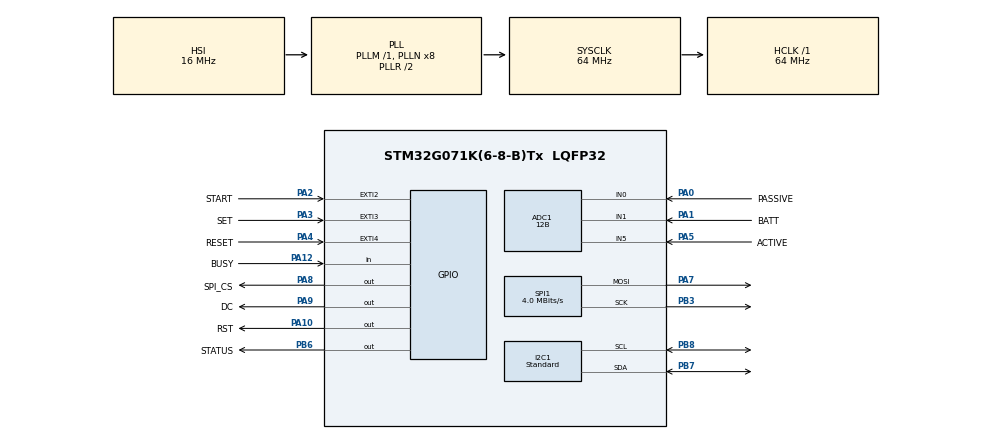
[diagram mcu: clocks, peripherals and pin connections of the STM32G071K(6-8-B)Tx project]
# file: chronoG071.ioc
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ADC1.Channel-0\#ChannelRegularConversion=ADC_CHANNEL_1
ADC1.Channel-3\#ChannelRegularConversion=ADC_CHANNEL_0
ADC1.Channel-4\#ChannelRegularConversion=ADC_CHANNEL_5
ADC1.Channel-IN0=ADC_CHANNEL_0
ADC1.Channel-IN1=ADC_CHANNEL_1
ADC1.Channel-IN5=ADC_CHANNEL_5
ADC1.ClockPrescaler=ADC_CLOCK_SYNC_PCLK_DIV2
ADC1.ContinuousConvMode=DISABLE
ADC1.DMAContinuousRequests=DISABLE
ADC1.DataAlign=ADC_DATAALIGN_RIGHT
ADC1.DiscontinuousConvMode=ENABLE
ADC1.EOCSelection=ADC_EOC_SEQ_CONV
ADC1.EnableAnalogWatchDog1=false
ADC1.EnableAnalogWatchDog2=false
ADC1.EnableAnalogWatchDog3=false
ADC1.ExternalTrigConv=ADC_SOFTWARE_START
ADC1.ExternalTrigConvEdge=ADC_EXTERNALTRIGCONVEDGE_NONE
ADC1.LowPowerAutoPowerOff=DISABLE
ADC1.LowPowerAutoWait=DISABLE
ADC1.NbrOfConversion=3
ADC1.Overrun=ADC_OVR_DATA_OVERWRITTEN
ADC1.OversamplingMode=DISABLE
ADC1.Rank-0\#ChannelRegularConversion=1
ADC1.Rank-3\#ChannelRegularConversion=2
ADC1.Rank-4\#ChannelRegularConversion=3
ADC1.Resolution=ADC_RESOLUTION_12B
ADC1.SamplingTime-0\#ChannelRegularConversion=ADC_SAMPLINGTIME_COMMON_1
ADC1.SamplingTime-3\#ChannelRegularConversion=ADC_SAMPLINGTIME_COMMON_1
ADC1.SamplingTime-4\#ChannelRegularConversion=ADC_SAMPLINGTIME_COMMON_1
ADC1.SamplingTimeCommon1=ADC_SAMPLETIME_19CYCLES_5
ADC1.SamplingTimeCommon2=ADC_SAMPLETIME_19CYCLES_5
ADC1.ScanConvMode=ADC_SCAN_ENABLE
ADC1.SelectedChannel=ADC_CHANNEL_0|ADC_CHANNEL_1|ADC_CHANNEL_5
ADC1.Sequencer=FULLY_CONFIGURABLE
ADC1.TriggerFrequencyMode=ADC_TRIGGER_FREQ_HIGH
ADC1.master=1
CRC.DefaultInitValueUse=DEFAULT_INIT_VALUE_ENABLE
CRC.DefaultPolynomialUse=DEFAULT_POLYNOMIAL_ENABLE
CRC.InputDataFormat=CRC_INPUTDATA_FORMAT_BYTES
CRC.InputDataInversionMode=CRC_INPUTDATA_INVERSION_NONE
CRC.OutputDataInversionMode=CRC_OUTPUTDATA_INVERSION_DISABLE
Dma.ADC1.0.Direction=DMA_PERIPH_TO_MEMORY
Dma.ADC1.0.EventEnable=DISABLE
Dma.ADC1.0.Instance=DMA1_Channel1
Dma.ADC1.0.MemDataAlignment=DMA_MDATAALIGN_HALFWORD
Dma.ADC1.0.MemInc=DMA_MINC_ENABLE
Dma.ADC1.0.Mode=DMA_CIRCULAR
Dma.ADC1.0.PeriphDataAlignment=DMA_PDATAALIGN_HALFWORD
Dma.ADC1.0.PeriphInc=DMA_PINC_DISABLE
Dma.ADC1.0.Polarity=HAL_DMAMUX_REQ_GEN_RISING
Dma.ADC1.0.Priority=DMA_PRIORITY_LOW
Dma.ADC1.0.RequestNumber=1
Dma.ADC1.0.SignalID=NONE
Dma.ADC1.0.SyncEnable=DISABLE
Dma.ADC1.0.SyncPolarity=HAL_DMAMUX_SYNC_NO_EVENT
Dma.ADC1.0.SyncRequestNumber=1
Dma.ADC1.0.SyncSignalID=NONE
Dma.Request0=ADC1
I2C1.AddressingMode=I2C_ADDRESSINGMODE_7BIT
I2C1.Analog_Filter=I2C_ANALOGFILTER_ENABLE
I2C1.CustomTiming=Disabled
I2C1.DualAddressMode=I2C_DUALADDRESS_DISABLE
I2C1.GeneralCallMode=I2C_GENERALCALL_DISABLE
I2C1.I2C_Coeff_DF=0
I2C1.I2C_Fall_Time=0
I2C1.I2C_Rise_Time=0
I2C1.I2C_Speed_Mode=I2C_Standard
I2C1.NoStretchMode=I2C_NOSTRETCH_DISABLE
I2C1.OwnAddress=0
I2C1.Speed=100
I2C1.Timing=0x10707DBC
Mcu.Family=STM32G0
Mcu.Name=STM32G071K(6-8-B)Tx
Mcu.Package=LQFP32
NVIC.DMA1_Channel1_IRQn=true\:0\:0\:false\:false\:true\:false\:true\:true
NVIC.EXTI2_3_IRQn=true\:2\:0\:true\:false\:true\:true\:true\:true
NVIC.EXTI4_15_IRQn=true\:2\:0\:true\:false\:true\:true\:true\:true
NVIC.RTC_TAMP_IRQn=true\:1\:0\:true\:false\:true\:true\:true\:true
NVIC.TIM3_IRQn=true\:0\:0\:false\:false\:true\:true\:true\:true
PA0.GPIO_Label=PASSIVE
PA0.Mode=IN0
PA0.Signal=ADC1_IN0
PA1.GPIO_Label=BATT
PA1.Mode=IN1
PA1.Signal=ADC1_IN1
PA10.GPIO_Label=RST
PA10.Signal=GPIO_Output
PA12\ [PA10].GPIO_Label=BUSY
PA12\ [PA10].Signal=GPIO_Input
PA13.Mode=Serial_Wire
PA13.Signal=SYS_SWDIO
PA14-BOOT0.Mode=Serial_Wire
PA14-BOOT0.Signal=SYS_SWCLK
PA2.GPIO_Label=START
PA2.GPIO_ModeDefaultEXTI=GPIO_MODE_IT_FALLING
PA2.GPIO_PuPd=GPIO_PULLUP
PA2.Signal=GPXTI2
PA3.GPIO_Label=SET
PA3.GPIO_ModeDefaultEXTI=GPIO_MODE_IT_FALLING
PA3.GPIO_PuPd=GPIO_PULLUP
PA3.Signal=GPXTI3
PA4.GPIO_Label=RESET
PA4.GPIO_ModeDefaultEXTI=GPIO_MODE_IT_FALLING
PA4.GPIO_PuPd=GPIO_PULLUP
PA4.Signal=GPXTI4
PA5.GPIO_Label=ACTIVE
PA5.Mode=IN5
PA5.Signal=ADC1_IN5
PA7.GPIO_Speed=GPIO_SPEED_FREQ_HIGH
PA7.Mode=TX_Only_Simplex_Unidirect_Master
PA7.PinState=GPIO_PIN_RESET
PA7.Signal=SPI1_MOSI
PA8.GPIO_Label=SPI_CS
PA8.Signal=GPIO_Output
PA9.GPIO_Label=DC
PA9.Signal=GPIO_Output
PB3.GPIO_Speed=GPIO_SPEED_FREQ_HIGH
PB3.Mode=TX_Only_Simplex_Unidirect_Master
PB3.Signal=SPI1_SCK
PB6.GPIO_Label=STATUS
PB6.Signal=GPIO_Output
PB7.GPIO_Pu=GPIO_PULLUP
PB7.Mode=I2C
PB7.Signal=I2C1_SDA
PB8.GPIO_Pu=GPIO_PULLUP
PB8.Mode=I2C
PB8.Signal=I2C1_SCL
PC14-OSC32_IN\ (PC14).Mode=LSE-External-Oscillator
PC14-OSC32_IN\ (PC14).Signal=RCC_OSC32_IN
PC15-OSC32_OUT\ (PC15).Mode=LSE-External-Oscillator
PC15-OSC32_OUT\ (PC15).Signal=RCC_OSC32_OUT
ProjectManager.HeapSize=0x200
ProjectManager.StackSize=0x400
ProjectManager.TargetToolchain=STM32CubeIDE
RCC.ADCFreq_Value=64000000
RCC.AHBFreq_Value=64000000
RCC.CortexFreq_Value=64000000
RCC.EXTERNAL_CLOCK_VALUE=48000
RCC.FLatency=FLASH_LATENCY_2
RCC.HCLKFreq_Value=64000000
RCC.HSE_VALUE=8000000
RCC.HSI_VALUE=16000000
RCC.RTCClockSelection=RCC_RTCCLKSOURCE_LSE
RCC.SYSCLKFreq_VALUE=64000000
RCC.SYSCLKSource=RCC_SYSCLKSOURCE_PLLCLK
RCC.VCOOutputFreq_Value=128000000
RTC.AsynchPrediv=127
RTC.Date=20
RTC.DayLightSaving=RTC_DAYLIGHTSAVING_NONE
RTC.Format=RTC_FORMAT_BIN
RTC.HourFormat=RTC_HOURFORMAT_24
RTC.Hours=10
RTC.Minutes=10
RTC.Month=RTC_MONTH_APRIL
RTC.Seconds=0
RTC.StoreOperation=RTC_STOREOPERATION_RESET
RTC.SubSeconds=0
RTC.SynchPrediv=255
RTC.WakeUpClock-WakeUp=RTC_WAKEUPCLOCK_CK_SPRE_16BITS
RTC.WakeUpCounter-WakeUp=60
RTC.WeekDay=RTC_WEEKDAY_TUESDAY
RTC.Year=20
SPI1.BaudRatePrescaler=SPI_BAUDRATEPRESCALER_16
SPI1.CLKPhase=SPI_PHASE_1EDGE
SPI1.CLKPolarity=SPI_POLARITY_LOW
SPI1.CRCCalculation=SPI_CRCCALCULATION_DISABLE
SPI1.CalculateBaudRate=4.0 MBits/s
SPI1.DataSize=SPI_DATASIZE_8BIT
SPI1.Direction=SPI_DIRECTION_2LINES
SPI1.FirstBit=SPI_FIRSTBIT_MSB
SPI1.Mode=SPI_MODE_MASTER
SPI1.NSS=SPI_NSS_SOFT
SPI1.NSSPMode=SPI_NSS_PULSE_ENABLE
SPI1.TIMode=SPI_TIMODE_DISABLE
SPI1.VirtualType=VM_MASTER
TIM3.AutoReloadPreload=TIM_AUTORELOAD_PRELOAD_DISABLE
TIM3.ClockDivision=TIM_CLOCKDIVISION_DIV1
TIM3.CounterMode=TIM_COUNTERMODE_UP
TIM3.Period=19999
TIM3.Prescaler=3199
TIM3.TIM_MasterOutputTrigger=TIM_TRGO_RESET
TIM3.TIM_MasterSlaveMode=TIM_MASTERSLAVEMODE_DISABLE
VP_CRC_VS_CRC.Mode=CRC_Activate
VP_RTC_VS_RTC_Activate.Mode=RTC_Enabled
VP_RTC_VS_RTC_Calendar.Mode=RTC_Calendar
VP_RTC_VS_RTC_WakeUp_intern.Mode=WakeUp
VP_SYS_VS_DBSignals.Mode=DisableDeadBatterySignals
VP_TIM3_VS_ClockSourceINT.Mode=Internal
board=custom

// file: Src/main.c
/* USER CODE BEGIN Header */
/**
  ******************************************************************************
  * @file           : main.c
  * @brief          : Main program body
  ******************************************************************************
  * @attention
  *
  * Copyright (c) 2022 STMicroelectronics.
  * All rights reserved.
  *
  * This software is licensed under terms that can be found in the LICENSE file
  * in the root directory of this software component.
  * If no LICENSE file comes with this software, it is provided AS-IS.
  *
  ******************************************************************************
  */

/*
 *
 *  Chrono v2.0
 changelog:
 0.2 probably working sensors
 0.3 working settings
 0.4 battery state pointer
 0.5 working chronograph(only minutes and seconds- without decimals)
 0.6 working low stop mode
 0.7 working new V2 display
 0.8 working sensors!
 0.9 now you cant change layouts and color schemes
 1.0 now sleeps also in chrono mode
 1.0.1 added dontSleepFlag
 1.1 new interface
 1.1.1 better pressure reading- compare
 1.2 properly working chronograph
 1.3 working humidity sensor
 1.3.1 reverted normal pressure reading
 1.3.2 sensor read optimization
 1.3.4 correct order of set time HAL functions
 1.3.5 better power consumption
 1.3.6 correct battery reading
 1.3.7 fixed stuck at button press
 1.3.8 better pressure pointer
 1.4 new settings. corrected GUI Paint
 1.5 working chrono, finally. added halfHour counter.
 1.5.1 chrono halfHours fix.
 1.5.2 longer wake up times, faster SPI
 1.5.3 new layout
 1.5.4 long wake up as init, systick suspend
 1.5.4 more volatile variables
 1.5.5 corrected button interrupt - else if :/
 1.5.6 mode as volatile...\
 1.6 more clean code
 1.7 changed gTime to sTime
 1.7.1 better battery management
 1.8 added altimeter and temp compensation
 1.9 better button management
 2.0 added compass
 2.0.1 - better magnetometer reading
 2.0.2 - better chrono(added date counting)
 2.0.3 - magnetometer correction for new pcb
 2.0.4 properly display minus temperatures
 2.0.5 fixed bad button reading
 2.0.6 mode backup
 2.0.7 better lifetime
 2.1 new sensor, new layouts
 2.2 working meter
 2.21 constant voltage correction switched to gain
 2.3 added dont sleep 10sedonds after release reset.
 2.4 added button lock
 2.5 calling clock config after cutton press
 2.6 better buttons work, customized for touch buttons, autolock if underwater
 2.7 fixes, auto close settings, Status LED- ready for touch sensors
 2.7.1 refresh at automatic settings close
 2.7.2 turn off chrono if it starts under water
 2.7.3 properly set layout and color scheme after setting auto-close
 2.7.4 increased magnetometer divider
 2.8 added moon phase
 2.8.1 corrected moon phase
 3.0 - autocalibrating compass, new analog interface for compass
 3.1 - better lock indicator
 3.11 - better lifetime
 3.2- dont refresh screen if battery is low
 3.3 -added flash backup
 3.4 - properly working chronograph
 3.4.1 -corrected flagBatteryLow flag name

 todo:
 -already did

 -fast seconds refresh holding reset button

 -chronograph not enough precised
 -low power modes-working modes(second synchro/minute synchro)
 EPD sleep
 -sleep and 1Hz refresh if chrono working
 -sleep and 0,2Hz refresh if chrono stop(wakeUp Counter)
 -working sensors
 -chronograph for decimals
 -make choro decimals to display 0 if chrono working
 -program battery alert and safety sleep.
 -fix cut date frame by date number
 loosen interfaceDrawIndex

 exit settings if underwater
 auto exit settings
 enter settings only in long press

 current consumption:
 idle: 8.64mA
 stop mode: 0,1mA

 PCB changelog
 0.5.2 - ring and base fitted to new V2 display
 0.5.3 - wider holes spacing
 0.5.6 - taller FFC connector-in case for too short display stripe
 1.0 - added meter connector, new charger, new magnetometer

 instructions:

 press start to start chrono
 press start to stop the chrono
 press start during chrono working, to resume counting
 press reset to reset chrono
 hold reset for fast refresh
 hold reset and press set to full refresh
 press set to go to settings

 in settings:

 press set to exit settings
 press reset to go next value
 press start to increment current value
 holding start, press and hold set. holding set button, press start to decrement value
 *
 */
/* USER CODE END Header */
#include "main.h"

/* USER CODE BEGIN Includes */
#include "Display_EPD/EPD_1in54_V2.h"
#include "Display_Config/DEV_Config.h"
#include "Display_GUI/GUI_Paint.h"

#include "interface.h"
#include "rtc.h"
#include "settings.h"
#include "buttons.h"
#include "sensing.h"
#include "timers.h"

#include <stdlib.h>

#include "EEPROM_Emul/eeprom_emul.h"
/* USER CODE END Includes */

 ADC_HandleTypeDef hadc1;
DMA_HandleTypeDef hdma_adc1;

I2C_HandleTypeDef hi2c1;

RTC_HandleTypeDef hrtc;

SPI_HandleTypeDef hspi1;

TIM_HandleTypeDef htim3;

void SystemClock_Config(void);
static void MX_GPIO_Init(void);
static void MX_DMA_Init(void);
static void MX_I2C1_Init(void);
static void MX_ADC1_Init(void);
static void MX_RTC_Init(void);
static void MX_SPI1_Init(void);
static void MX_TIM3_Init(void);
static void MX_CRC_Init(void);
/* USER CODE BEGIN PFP */
void onSleep(void);
void onWakeUp(void);
/* USER CODE END PFP */

int main(void)
{

  /* MCU Configuration--------------------------------------------------------*/

  /* Reset of all peripherals, Initializes the Flash interface and the Systick. */
  HAL_Init();

  /* Configure the system clock */
  SystemClock_Config();

  /* Initialize all configured peripherals */
  MX_GPIO_Init();
  MX_DMA_Init();
  MX_I2C1_Init();
  MX_ADC1_Init();
  MX_RTC_Init();
  MX_SPI1_Init();
  MX_TIM3_Init();
  MX_CRC_Init();
  /* USER CODE BEGIN 2 */

	//EPD test
	//EPD_1in54_V2_test();
	//										INITIALISATION
	//										RTC INITIALISATION
	rtcInit();

	//										SENSORS INITIALISATION

	sensingInit();

	//										TIMERS INITIALISATION
	timersInit();

	//										INTERFACE

	while (flagBatteryLow) {
		onSleep();
		onWakeUp();

		sensingRead();
	}

	layout = 2;  //select startup layout and color
	colorScheme = COLOR_SCHEME_BLACK;

	flagClockConfig = 0;

	interfaceSelectLayout(layout);  //set layout and color
	interfaceSelectColorScheme(colorScheme);
	interfaceInit();

	interfaceClear();	//clear framebuffer

	interfaceUpdate(INTERFACE_UPDATE_FULL);	//change update mode

	interfaceDrawLayer(1);
	interfaceDrawLayer(2);
	interfaceDrawLayer(3);

	interfaceWrite();

	//										FLASH RESTORE SECTION

	flashWriteFlag = 0;
	uint16_t virtualAdress[NB_OF_VARIABLES];
	uint16_t timeBackup[3];

	for (uint8_t varIndex = 1; varIndex <= 3; varIndex++) {
		virtualAdress[varIndex - 1] = varIndex;
	}

	HAL_FLASH_Unlock();

	uint8_t flashStatus = EE_Init(EE_CONDITIONAL_ERASE);

	if(flashStatus == EE_WRITE_ERROR){
		EE_Format(EE_CONDITIONAL_ERASE);
		flashStatus = EE_Init(EE_CONDITIONAL_ERASE);
	}

	if (flashStatus != EE_OK) {
		Error_Handler();
	}

	for (uint8_t i = 0; i < 3; i++) {
		if(EE_ReadVariable16bits(virtualAdress[i], &timeBackup[i])!= EE_OK){
//			Error_Handler();
		}
	}

	HAL_FLASH_Lock();

	actual.year = (uint8_t) (timeBackup[0] >> 8);
	actual.month = (uint8_t) (timeBackup[0]);

	actual.day = (uint8_t) (timeBackup[1] >> 8);
	actual.hour = (uint8_t) (timeBackup[1]);

	actual.minute = (uint8_t) (timeBackup[2] >> 8);
	actual.second = (uint8_t) (timeBackup[2]);

	if (actual.year > 100)
		actual.year = 20;
	if (actual.month > 12)
		actual.month = 4;
	if (actual.day > 31)
		actual.day = 20;
	if (actual.hour > 24)
		actual.hour = 10;
	if (actual.minute > 59)
		actual.minute = 0;
	if (actual.second > 59)
		actual.second = 0;

	rtcSetTime();
  /* USER CODE END 2 */

  /* Infinite loop */
  /* USER CODE BEGIN WHILE */
  while (1)
  {

	  //									MAIN LOOP

	  		if (flagClockConfig == 1) {
	  			SystemClock_Config();
	  			flagClockConfig = 0;
	  		}

	  		//									SENSING SECTION
	  		sensingRead();

	  		//									RTC SECTION
	  		rtcGetTime();

	  		//									FLASH BACKUP SECTION
	  		if (flashWriteFlag == 1) {

	  			timeBackup[0] = (((uint16_t) actual.year) << 8) | actual.month;
	  			timeBackup[1] = (((uint16_t) actual.day) << 8) | actual.hour;
	  			timeBackup[2] = (((uint16_t) actual.minute) << 8)
	  					| actual.second;

	  			HAL_FLASH_Unlock();

	  			if (EE_Init(EE_CONDITIONAL_ERASE) != EE_OK) {
	  				Error_Handler();
	  			}

	  			for (uint8_t i = 0; i < 3; i++) {
	  				if(EE_WriteVariable16bits(virtualAdress[i], timeBackup[i])!= EE_OK){
	  					Error_Handler();
	  				}

	  			}

	  			HAL_FLASH_Lock();

	  			flashWriteFlag = 0;
	  		}

	  		//									BATTERY SECURE SECTION

	  		while (flagBatteryLow) {

	  			if (!flagBatteryWarningPrinted) {
	  				interfaceDrawBatteryWarning();
	  				mode = MODE_NORMAL;
	  				flagBatteryWarningPrinted = 1;
	  			}

	  			onSleep();
	  			onWakeUp();

	  			sensingRead();
	  		}

	  		//									DISPLAY REFRESH SECTION
	  		if (interfaceUpdateMode == INTERFACE_UPDATE_FULL) {	//switch to partial if full was selected
	  			interfaceUpdate(INTERFACE_UPDATE_PARTIAL);
	  		}
	  		if (flagInterfaceFullUpdate == 1) {	//switch to full if flag are active. Flag can be set via RESET button
	  			interfaceUpdate(INTERFACE_UPDATE_FULL);
	  			flagInterfaceFullUpdate = 0;
	  		}

	  		//									NORMAL MODE
	  		if (flagSettings == FLAG_SETTINGS_OFF && !flagBatteryLow) {

	  			interfaceClear();	//clear framebuffer
	  			interfaceDrawLayer(1);
	  			interfaceDrawLayer(2);
	  			interfaceDrawLayer(3);
	  			interfaceWrite();	//burn framebuffer

	  			//								SETTINGS MODE

	  		} else if (flagSettings == FLAG_SETTINGS_ON && !flagBatteryLow) {

	  			interfaceClear();	//clear framebuffer
	  			settingsDrawSubs(); //draw settings interface
	  			settingsDrawData();
	  			settingsDrawPointer();
	  			interfaceWrite();	//burn framebuffer

	  		}

	  		//									LOW POWER SECTION-SLEEP

	  		//conditions for sleep mode
	  		if ((flagSettings == FLAG_SETTINGS_OFF //settings off
	  		&& flagDontSleep != 1 //dont sleep flag inactive
	  		&& HAL_GPIO_ReadPin(RESET_GPIO_Port, RESET_Pin) == 1) //reset dont pressed
	  		&& !(mode == MODE_CHRONO && chrono.minute < 1) //if chrono counts more than 1 minute
	  				&& LPMode == 1 //if low power mode active
	  				&& counterForce >= ON_TIME) { //force timer inactive

	  			//to do before sleep mode
	  			onSleep();
	  			//to do after wake up
	  			onWakeUp();
	  		}

	  		flagDontSleep = 0; // is set via another button, for fast display refresh after pressing
    /* USER CODE END WHILE */

  }
}

void SystemClock_Config(void)
{
  RCC_OscInitTypeDef RCC_OscInitStruct = {0};
  RCC_ClkInitTypeDef RCC_ClkInitStruct = {0};

  /** Configure the main internal regulator output voltage
  */
  HAL_PWREx_ControlVoltageScaling(PWR_REGULATOR_VOLTAGE_SCALE1);

  /** Configure LSE Drive Capability
  */
  HAL_PWR_EnableBkUpAccess();
  __HAL_RCC_LSEDRIVE_CONFIG(RCC_LSEDRIVE_LOW);

  /** Initializes the RCC Oscillators according to the specified parameters
  * in the RCC_OscInitTypeDef structure.
  */
  RCC_OscInitStruct.OscillatorType = RCC_OSCILLATORTYPE_HSI|RCC_OSCILLATORTYPE_LSE;
  RCC_OscInitStruct.LSEState = RCC_LSE_ON;
  RCC_OscInitStruct.HSIState = RCC_HSI_ON;
  RCC_OscInitStruct.HSIDiv = RCC_HSI_DIV1;
  RCC_OscInitStruct.HSICalibrationValue = RCC_HSICALIBRATION_DEFAULT;
  RCC_OscInitStruct.PLL.PLLState = RCC_PLL_ON;
  RCC_OscInitStruct.PLL.PLLSource = RCC_PLLSOURCE_HSI;
  RCC_OscInitStruct.PLL.PLLM = RCC_PLLM_DIV1;
  RCC_OscInitStruct.PLL.PLLN = 8;
  RCC_OscInitStruct.PLL.PLLP = RCC_PLLP_DIV2;
  RCC_OscInitStruct.PLL.PLLQ = RCC_PLLQ_DIV2;
  RCC_OscInitStruct.PLL.PLLR = RCC_PLLR_DIV2;
  if (HAL_RCC_OscConfig(&RCC_OscInitStruct) != HAL_OK)
  {
    Error_Handler();
  }

  /** Initializes the CPU, AHB and APB buses clocks
  */
  RCC_ClkInitStruct.ClockType = RCC_CLOCKTYPE_HCLK|RCC_CLOCKTYPE_SYSCLK
                              |RCC_CLOCKTYPE_PCLK1;
  RCC_ClkInitStruct.SYSCLKSource = RCC_SYSCLKSOURCE_PLLCLK;
  RCC_ClkInitStruct.AHBCLKDivider = RCC_SYSCLK_DIV1;
  RCC_ClkInitStruct.APB1CLKDivider = RCC_HCLK_DIV1;

  if (HAL_RCC_ClockConfig(&RCC_ClkInitStruct, FLASH_LATENCY_2) != HAL_OK)
  {
    Error_Handler();
  }
}

static void MX_ADC1_Init(void)
{

  ADC_ChannelConfTypeDef sConfig = {0};

  /** Configure the global features of the ADC (Clock, Resolution, Data Alignment and number of conversion)
  */
  hadc1.Instance = ADC1;
  hadc1.Init.ClockPrescaler = ADC_CLOCK_SYNC_PCLK_DIV2;
  hadc1.Init.Resolution = ADC_RESOLUTION_12B;
  hadc1.Init.DataAlign = ADC_DATAALIGN_RIGHT;
  hadc1.Init.ScanConvMode = ADC_SCAN_ENABLE;
  hadc1.Init.EOCSelection = ADC_EOC_SEQ_CONV;
  hadc1.Init.LowPowerAutoWait = DISABLE;
  hadc1.Init.LowPowerAutoPowerOff = DISABLE;
  hadc1.Init.ContinuousConvMode = DISABLE;
  hadc1.Init.NbrOfConversion = 3;
  hadc1.Init.DiscontinuousConvMode = ENABLE;
  hadc1.Init.ExternalTrigConv = ADC_SOFTWARE_START;
  hadc1.Init.ExternalTrigConvEdge = ADC_EXTERNALTRIGCONVEDGE_NONE;
  hadc1.Init.DMAContinuousRequests = DISABLE;
  hadc1.Init.Overrun = ADC_OVR_DATA_OVERWRITTEN;
  hadc1.Init.SamplingTimeCommon1 = ADC_SAMPLETIME_19CYCLES_5;
  hadc1.Init.SamplingTimeCommon2 = ADC_SAMPLETIME_19CYCLES_5;
  hadc1.Init.OversamplingMode = DISABLE;
  hadc1.Init.TriggerFrequencyMode = ADC_TRIGGER_FREQ_HIGH;
  if (HAL_ADC_Init(&hadc1) != HAL_OK)
  {
    Error_Handler();
  }

  /** Configure Regular Channel
  */
  sConfig.Channel = ADC_CHANNEL_1;
  sConfig.Rank = ADC_REGULAR_RANK_1;
  sConfig.SamplingTime = ADC_SAMPLINGTIME_COMMON_1;
  if (HAL_ADC_ConfigChannel(&hadc1, &sConfig) != HAL_OK)
  {
    Error_Handler();
  }

  /** Configure Regular Channel
  */
  sConfig.Channel = ADC_CHANNEL_0;
  sConfig.Rank = ADC_REGULAR_RANK_2;
  if (HAL_ADC_ConfigChannel(&hadc1, &sConfig) != HAL_OK)
  {
    Error_Handler();
  }

  /** Configure Regular Channel
  */
  sConfig.Channel = ADC_CHANNEL_5;
  sConfig.Rank = ADC_REGULAR_RANK_3;
  if (HAL_ADC_ConfigChannel(&hadc1, &sConfig) != HAL_OK)
  {
    Error_Handler();
  }

}

static void MX_CRC_Init(void)
{

  /* Peripheral clock enable */
  LL_AHB1_GRP1_EnableClock(LL_AHB1_GRP1_PERIPH_CRC);

  LL_CRC_SetInputDataReverseMode(CRC, LL_CRC_INDATA_REVERSE_NONE);
  LL_CRC_SetOutputDataReverseMode(CRC, LL_CRC_OUTDATA_REVERSE_NONE);
  LL_CRC_SetPolynomialCoef(CRC, LL_CRC_DEFAULT_CRC32_POLY);
  LL_CRC_SetPolynomialSize(CRC, LL_CRC_POLYLENGTH_32B);
  LL_CRC_SetInitialData(CRC, LL_CRC_DEFAULT_CRC_INITVALUE);

}

static void MX_I2C1_Init(void)
{

  hi2c1.Instance = I2C1;
  hi2c1.Init.Timing = 0x10707DBC;
  hi2c1.Init.OwnAddress1 = 0;
  hi2c1.Init.AddressingMode = I2C_ADDRESSINGMODE_7BIT;
  hi2c1.Init.DualAddressMode = I2C_DUALADDRESS_DISABLE;
  hi2c1.Init.OwnAddress2 = 0;
  hi2c1.Init.OwnAddress2Masks = I2C_OA2_NOMASK;
  hi2c1.Init.GeneralCallMode = I2C_GENERALCALL_DISABLE;
  hi2c1.Init.NoStretchMode = I2C_NOSTRETCH_DISABLE;
  if (HAL_I2C_Init(&hi2c1) != HAL_OK)
  {
    Error_Handler();
  }

  /** Configure Analogue filter
  */
  if (HAL_I2CEx_ConfigAnalogFilter(&hi2c1, I2C_ANALOGFILTER_ENABLE) != HAL_OK)
  {
    Error_Handler();
  }

  /** Configure Digital filter
  */
  if (HAL_I2CEx_ConfigDigitalFilter(&hi2c1, 0) != HAL_OK)
  {
    Error_Handler();
  }

}

static void MX_RTC_Init(void)
{

  RTC_TimeTypeDef sTime = {0};
  RTC_DateTypeDef sDate = {0};

  /** Initialize RTC Only
  */
  hrtc.Instance = RTC;
  hrtc.Init.HourFormat = RTC_HOURFORMAT_24;
  hrtc.Init.AsynchPrediv = 127;
  hrtc.Init.SynchPrediv = 255;
  hrtc.Init.OutPut = RTC_OUTPUT_DISABLE;
  hrtc.Init.OutPutRemap = RTC_OUTPUT_REMAP_NONE;
  hrtc.Init.OutPutPolarity = RTC_OUTPUT_POLARITY_HIGH;
  hrtc.Init.OutPutType = RTC_OUTPUT_TYPE_OPENDRAIN;
  hrtc.Init.OutPutPullUp = RTC_OUTPUT_PULLUP_NONE;
  if (HAL_RTC_Init(&hrtc) != HAL_OK)
  {
    Error_Handler();
  }

  /** Initialize RTC and set the Time and Date
  */
  sTime.Hours = 10;
  sTime.Minutes = 10;
  sTime.Seconds = 0;
  sTime.SubSeconds = 0;
  sTime.DayLightSaving = RTC_DAYLIGHTSAVING_NONE;
  sTime.StoreOperation = RTC_STOREOPERATION_RESET;
  if (HAL_RTC_SetTime(&hrtc, &sTime, RTC_FORMAT_BIN) != HAL_OK)
  {
    Error_Handler();
  }
  sDate.WeekDay = RTC_WEEKDAY_TUESDAY;
  sDate.Month = RTC_MONTH_APRIL;
  sDate.Date = 20;
  sDate.Year = 20;

  if (HAL_RTC_SetDate(&hrtc, &sDate, RTC_FORMAT_BIN) != HAL_OK)
  {
    Error_Handler();
  }

  /** Enable the WakeUp
  */
  if (HAL_RTCEx_SetWakeUpTimer_IT(&hrtc, 60, RTC_WAKEUPCLOCK_CK_SPRE_16BITS) != HAL_OK)
  {
    Error_Handler();
  }

}

static void MX_SPI1_Init(void)
{

  /* SPI1 parameter configuration*/
  hspi1.Instance = SPI1;
  hspi1.Init.Mode = SPI_MODE_MASTER;
  hspi1.Init.Direction = SPI_DIRECTION_2LINES;
  hspi1.Init.DataSize = SPI_DATASIZE_8BIT;
  hspi1.Init.CLKPolarity = SPI_POLARITY_LOW;
  hspi1.Init.CLKPhase = SPI_PHASE_1EDGE;
  hspi1.Init.NSS = SPI_NSS_SOFT;
  hspi1.Init.BaudRatePrescaler = SPI_BAUDRATEPRESCALER_16;
  hspi1.Init.FirstBit = SPI_FIRSTBIT_MSB;
  hspi1.Init.TIMode = SPI_TIMODE_DISABLE;
  hspi1.Init.CRCCalculation = SPI_CRCCALCULATION_DISABLE;
  hspi1.Init.CRCPolynomial = 7;
  hspi1.Init.CRCLength = SPI_CRC_LENGTH_DATASIZE;
  hspi1.Init.NSSPMode = SPI_NSS_PULSE_ENABLE;
  if (HAL_SPI_Init(&hspi1) != HAL_OK)
  {
    Error_Handler();
  }

}

static void MX_TIM3_Init(void)
{

  TIM_ClockConfigTypeDef sClockSourceConfig = {0};
  TIM_MasterConfigTypeDef sMasterConfig = {0};

  htim3.Instance = TIM3;
  htim3.Init.Prescaler = 3199;
  htim3.Init.CounterMode = TIM_COUNTERMODE_UP;
  htim3.Init.Period = 19999;
  htim3.Init.ClockDivision = TIM_CLOCKDIVISION_DIV1;
  htim3.Init.AutoReloadPreload = TIM_AUTORELOAD_PRELOAD_DISABLE;
  if (HAL_TIM_Base_Init(&htim3) != HAL_OK)
  {
    Error_Handler();
  }
  sClockSourceConfig.ClockSource = TIM_CLOCKSOURCE_INTERNAL;
  if (HAL_TIM_ConfigClockSource(&htim3, &sClockSourceConfig) != HAL_OK)
  {
    Error_Handler();
  }
  sMasterConfig.MasterOutputTrigger = TIM_TRGO_RESET;
  sMasterConfig.MasterSlaveMode = TIM_MASTERSLAVEMODE_DISABLE;
  if (HAL_TIMEx_MasterConfigSynchronization(&htim3, &sMasterConfig) != HAL_OK)
  {
    Error_Handler();
  }

}

static void MX_DMA_Init(void)
{

  /* DMA controller clock enable */
  __HAL_RCC_DMA1_CLK_ENABLE();

  /* DMA interrupt init */
  /* DMA1_Channel1_IRQn interrupt configuration */
  HAL_NVIC_SetPriority(DMA1_Channel1_IRQn, 0, 0);
  HAL_NVIC_EnableIRQ(DMA1_Channel1_IRQn);

}

static void MX_GPIO_Init(void)
{
  GPIO_InitTypeDef GPIO_InitStruct = {0};

  /* GPIO Ports Clock Enable */
  __HAL_RCC_GPIOC_CLK_ENABLE();
  __HAL_RCC_GPIOA_CLK_ENABLE();
  __HAL_RCC_GPIOB_CLK_ENABLE();

  /*Configure GPIO pin Output Level */
  HAL_GPIO_WritePin(GPIOA, SPI_CS_Pin|DC_Pin|RST_Pin, GPIO_PIN_RESET);

  /*Configure GPIO pin Output Level */
  HAL_GPIO_WritePin(STATUS_GPIO_Port, STATUS_Pin, GPIO_PIN_RESET);

  /*Configure GPIO pins : START_Pin SET_Pin RESET_Pin */
  GPIO_InitStruct.Pin = START_Pin|SET_Pin|RESET_Pin;
  GPIO_InitStruct.Mode = GPIO_MODE_IT_FALLING;
  GPIO_InitStruct.Pull = GPIO_PULLUP;
  HAL_GPIO_Init(GPIOA, &GPIO_InitStruct);

  /*Configure GPIO pins : SPI_CS_Pin DC_Pin RST_Pin */
  GPIO_InitStruct.Pin = SPI_CS_Pin|DC_Pin|RST_Pin;
  GPIO_InitStruct.Mode = GPIO_MODE_OUTPUT_PP;
  GPIO_InitStruct.Pull = GPIO_NOPULL;
  GPIO_InitStruct.Speed = GPIO_SPEED_FREQ_LOW;
  HAL_GPIO_Init(GPIOA, &GPIO_InitStruct);

  /*Configure GPIO pin : BUSY_Pin */
  GPIO_InitStruct.Pin = BUSY_Pin;
  GPIO_InitStruct.Mode = GPIO_MODE_INPUT;
  GPIO_InitStruct.Pull = GPIO_NOPULL;
  HAL_GPIO_Init(BUSY_GPIO_Port, &GPIO_InitStruct);

  /*Configure GPIO pin : STATUS_Pin */
  GPIO_InitStruct.Pin = STATUS_Pin;
  GPIO_InitStruct.Mode = GPIO_MODE_OUTPUT_PP;
  GPIO_InitStruct.Pull = GPIO_NOPULL;
  GPIO_InitStruct.Speed = GPIO_SPEED_FREQ_LOW;
  HAL_GPIO_Init(STATUS_GPIO_Port, &GPIO_InitStruct);

  /* EXTI interrupt init*/
  HAL_NVIC_SetPriority(EXTI2_3_IRQn, 2, 0);
  HAL_NVIC_EnableIRQ(EXTI2_3_IRQn);

  HAL_NVIC_SetPriority(EXTI4_15_IRQn, 2, 0);
  HAL_NVIC_EnableIRQ(EXTI4_15_IRQn);

}

/* USER CODE BEGIN 4 */
void onSleep(void) {
	//			EPD_1IN54_V2_Sleep();
	//			DEV_Module_Exit();
	HAL_GPIO_WritePin(STATUS_GPIO_Port, STATUS_Pin, 0);
	HAL_SuspendTick();
	HAL_PWR_EnterSTOPMode(PWR_LOWPOWERREGULATOR_ON, PWR_STOPENTRY_WFI);
	//			HAL_PWR_EnterSTOPMode(PWR_MAINREGULATOR_ON, PWR_STOPENTRY_WFI);
}
void onWakeUp(void) {
	HAL_ResumeTick();
	SystemClock_Config();
	HAL_GPIO_WritePin(STATUS_GPIO_Port, STATUS_Pin, 1);
//	HAL_ADC_Start_DMA(&hadc1, (uint32_t*) adcReading, 3);
	//			DEV_Module_Init();
	//			interfaceUpdate(INTERFACE_UPDATE_PARTIAL);
}
/* USER CODE END 4 */

void Error_Handler(void)
{
  __disable_irq();
  while (1)
  {
  }
}
